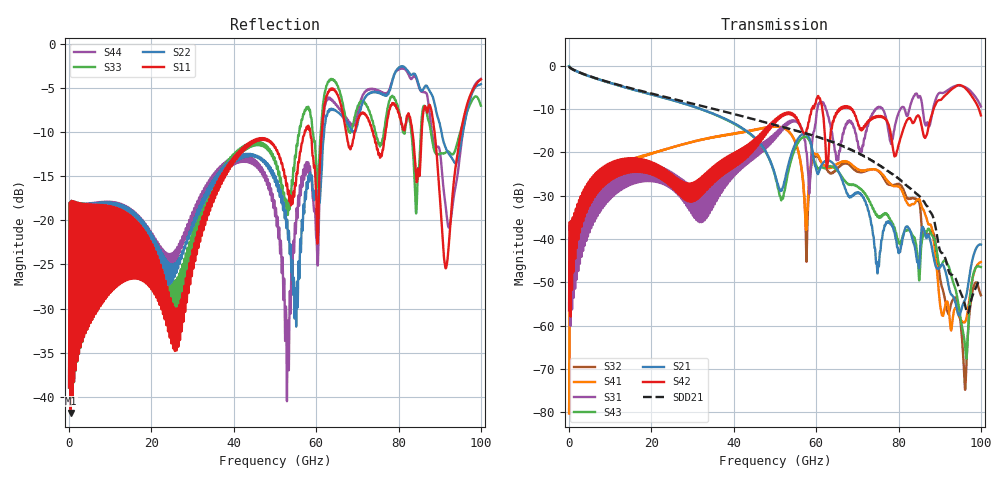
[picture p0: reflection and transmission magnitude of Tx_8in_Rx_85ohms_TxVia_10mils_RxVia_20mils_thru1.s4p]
! Info: Touchstone file created by Circ.  Input file=Tx_8in_Rx_85ohms_TxVia_10mils_RxVia_20mils.circ
# Hz S RI R 50
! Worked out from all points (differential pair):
!   10000 points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, 10 MHz to 100 GHz, reference 50 ohm
!   strongest paths, dB at 10 MHz, 25.01 GHz, 50.01 GHz, 75.01 GHz, 100 GHz:
!     S42: -56.4, -25.2, -12.4, -11.8, -11.5
!     S21: -0.1, -7.9, -25.1, -46.2, -41.3
!     S43: -0.1, -7.9, -25.3, -34.7, -46.5
!     S31: -56.4, -24.7, -15.5, -9.7, -9.4
!     S41: -80.2, -18.8, -14.1, -24.1, -45.3
!     S32: -80.2, -18.8, -14.0, -24.3, -53.0
!   taken as a pair (ports 1,3 in; 2,4 out), SDD21 dB: -0.1, -7.6, -13.7, -22.7, -49.9
!   lowest |S11| = -41.8 dB at 390 MHz (marker M1), VSWR 1.02, Z = 49.3 + j0.46 ohm
!   |S11| at or under -10 dB: start of sweep to 57.2 GHz; 73.81 GHz to 76.82 GHz (3.013 GHz wide, 4 % of centre); 88.75 GHz to 95.14 GHz (6.391 GHz wide, 6.95 % of centre) (the widest 3 of 6)
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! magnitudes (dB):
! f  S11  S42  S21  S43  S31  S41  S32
! 10 MHz  -38.9  -56.4  -0.1  -0.1  -56.4  -80.2  -80.2
! 390 MHz  -41.8  -46.8  -0.5  -0.5  -47.0  -48.5  -48.5
! 7.76 GHz  -18.6  -27.8  -3.3  -3.3  -31.3  -25.0  -25.0
! 50.16 GHz  -11.8  -13.0  -25.7  -25.9  -16.6  -14.0  -14.0
! 84.64 GHz  -14.9  -11.5  -45.2  -43.8  -7.0  -30.9  -31.1
! 96.1 GHz  -7.8  -5.1  -54.1  -64.1  -4.9  -59.2  -74.3
! 100 GHz  -4.0  -11.5  -41.3  -46.5  -9.4  -45.3  -53.0
